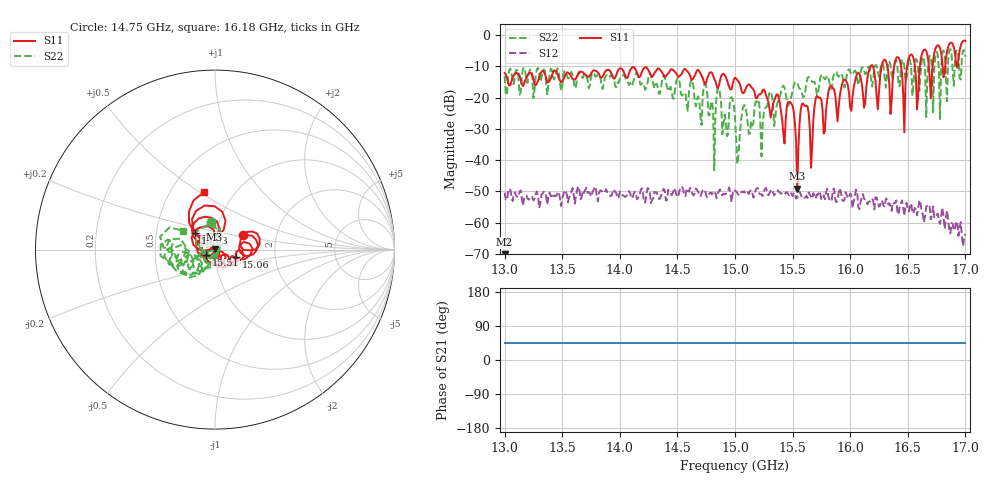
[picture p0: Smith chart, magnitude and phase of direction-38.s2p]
!Keysight Technologies,P9374A,MY57211810,A.19.30.04
!Date: Friday, May 02, 2025 09:00:26
!Correction: S11(Off)
!S21(Off)
!S12(Off)
!S22(Off)
!S2P File: Measurements: S11, S21, S12, S22:
# Hz S  dB  R 50
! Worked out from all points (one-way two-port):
!   401 points, 13 GHz to 17 GHz, reference 50 ohm
!   highest |S21| = - dB at 13 GHz (marker M1); lowest = - dB at 13 GHz (marker M2)
!   lowest |S11| = -49.1 dB at 15.54 GHz (marker M3), VSWR 1.01, Z = 49.7 + j0.244 ohm
!   |S11| at or under -10 dB: start of sweep to 16.18 GHz; 16.19723 GHz to 16.27266 GHz (75.42 MHz wide, 0.465 % of centre); 16.32257 GHz to 16.38111 GHz (58.54 MHz wide, 0.358 % of centre) (the widest 3 of 8)
!   |S22| runs from -43.2 to -4.4 dB; largest |S21 - S12| = 0.0038
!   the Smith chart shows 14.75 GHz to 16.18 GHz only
!   S11 on the Smith chart (normalised r, x): 14.75 GHz: 1.36, +0.23; 15.06 GHz: 1.26, -0.11; 15.51 GHz: 0.90, -0.06; 16.03 GHz: 0.79, +0.15; 16.18 GHz: 0.73, +0.52
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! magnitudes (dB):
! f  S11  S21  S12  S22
! 13 GHz  -12.1  -  -50.4  -13.0
! 13.67 GHz  -11.7  -  -51.5  -13.5
! 14.34 GHz  -10.7  -  -52.4  -18.8
! 14.75 GHz  -15.0  -  -51.3  -16.1
! 15 GHz  -13.6  -  -49.7  -26.5
! 15.03 GHz  -14.8  -  -51.0  -38.5
! 15.06 GHz  -18.2  -  -50.0  -25.0
! 15.51 GHz  -24.4  -  -50.4  -16.1
! 15.54 GHz  -49.1  -  -52.0  -15.1
! 15.6 GHz  -22.5  -  -52.0  -19.6
! 15.67 GHz  -35.3  -  -52.3  -14.9
! 15.72 GHz  -19.7  -  -51.0  -19.0
! 16.03 GHz  -16.8  -  -53.2  -11.9
! 16.18 GHz  -9.8  -  -52.7  -13.6
! 16.34 GHz  -15.8  -  -53.8  -8.3
! 16.41 GHz  -7.0  -  -56.5  -10.2
! 16.47 GHz  -31.1  -  -57.8  -10.0
! 16.52 GHz  -6.4  -  -54.6  -7.9
! 16.58 GHz  -23.7  -  -57.7  -8.1
! 16.64 GHz  -4.7  -  -59.9  -7.6
! 16.7 GHz  -20.3  -  -58.9  -7.2
! 17 GHz  -1.9  -  -63.6  -6.9
